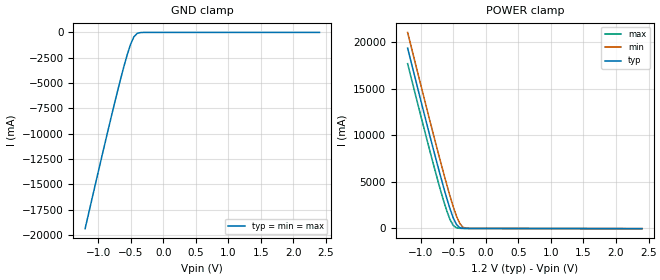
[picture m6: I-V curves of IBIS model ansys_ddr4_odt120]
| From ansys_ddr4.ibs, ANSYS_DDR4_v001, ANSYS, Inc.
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|Model ansys_ddr4_odt120
[Model] ansys_ddr4_odt120
Model_type Input
Vinl = 0.8
Vinh = 1.0
C_comp 1e-13 9.5e-14 1.05e-13
[Temperature Range] 25.0 0.0 85.0
[Voltage Range] 1.2 1.14 1.26
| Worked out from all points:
|   GND clamp passes 1 mA (typ) near -0.27 V on its own axis
|   POWER clamp passes 1 mA (typ) near -0.12 V on its own axis
[GND Clamp]
-1.2V     -19.39A    -19.39A    -19.39A
-850mV    -9.722A    -9.722A    -9.722A
-700mV    -5.751A    -5.751A    -5.751A
-600mV    -3.265A    -3.265A    -3.265A
-550mV    -2.13A     -2.13A     -2.13A
-500mV    -1.141A    -1.141A    -1.141A
-450mV    -425.1mA   -425.1mA   -425.1mA
-400mV    -94.51mA   -94.51mA   -94.51mA
-250mV    -337.2uA   -337.2uA   -337.2uA
2.4V      240uA      240uA      240uA
[POWER Clamp]
-1.2V     19.4A      21.08A     17.72A
-950mV    12.45A     14.11A     10.81A
-800mV    8.385A     10A        6.796A
-700mV    5.757A     7.323A     4.239A
-600mV    3.27A      4.739A     1.922A
-550mV    2.134A     3.508A     975mA
-500mV    1.145A     2.353A     331.4mA
-450mV    428.8mA    1.327A     69.55mA
-400mV    97.8mA     542.8mA    12.93mA
-350mV    17.92mA    136.1mA    3.78mA
-200mV    1.711mA    2.741mA    1.115mA
2.4V      -20mA      -20.53mA   -19.52mA
